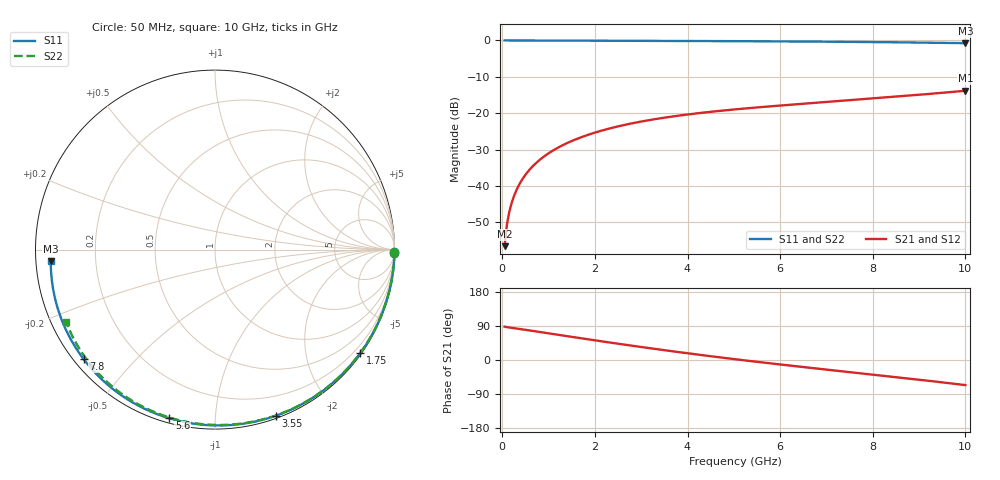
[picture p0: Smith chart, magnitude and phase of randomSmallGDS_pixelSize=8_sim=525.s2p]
! freq	dB(S11)	phase(S11)	dB(S12)	phase(S12)
!  dB(S21)	phase(S21)	dB(S22)	phase(S22)
!S-par simulation data
#  GHz  S  DB  R 50
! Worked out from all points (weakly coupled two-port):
!   200 points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, 50 MHz to 10 GHz, reference 50 ohm
!   highest |S21| = -13.83 dB at 10 GHz (marker M1); lowest = -56.6 dB at 50 MHz (marker M2)
!   lowest |S11| = -0.7 dB at 10 GHz (marker M3), VSWR 23.19, Z = 2.16 - j1.8 ohm
!   |S11| at or under -10 dB: nowhere
!   |S22| runs from -0.7 to 0.0 dB; largest |S21 - S12| = 0
!   S11 on the Smith chart (normalised r, x): 50 MHz: open; 1.75 GHz: 0.03, -3.12; 3.55 GHz: 0.02, -1.43; 5.6 GHz: 0.02, -0.77; 7.8 GHz: 0.03, -0.36; 10 GHz: 0.04, -0.04
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0.05  -0.00 -1.0  -56.56 88.1  -56.56 88.1  -0.00 -0.9
0.1  -0.00 -2.1  -50.64 86.7  -50.64 86.7  -0.00 -1.8
0.15  -0.00 -3.1  -47.21 85.7  -47.21 85.7  -0.00 -2.7
0.2  -0.00 -4.2  -44.77 84.8  -44.77 84.8  -0.00 -3.6
0.25  -0.00 -5.2  -42.87 84.0  -42.87 84.0  -0.00 -4.5
0.35  -0.01 -7.3  -39.99 82.3  -39.99 82.3  -0.01 -6.3
0.5  -0.01 -10.3  -36.93 79.6  -36.93 79.6  -0.01 -9.0
0.7  -0.02 -14.4  -34.05 76.0  -34.05 76.0  -0.02 -12.6
1  -0.03 -20.6  -31.02 70.4  -31.02 70.4  -0.03 -18.0
1.35  -0.04 -27.6  -28.51 63.9  -28.51 63.9  -0.04 -24.1
1.75  -0.05 -35.6  -26.40 56.5  -26.40 56.5  -0.05 -31.1
2.6  -0.09 -52.1  -23.33 41.2  -23.33 41.2  -0.08 -45.7
3.4  -0.12 -67.0  -21.43 27.5  -21.43 27.5  -0.11 -58.9
3.55  -0.12 -69.8  -21.14 25.1  -21.14 25.1  -0.11 -61.3
4.3  -0.16 -83.1  -19.90 13.1  -19.90 13.1  -0.15 -73.2
5.05  -0.20 -96.0  -18.92 1.7  -18.92 1.7  -0.18 -84.7
5.6  -0.23 -105.1  -18.31 -6.2  -18.31 -6.2  -0.21 -92.9
6.7  -0.31 -122.9  -17.21 -21.3  -17.21 -21.3  -0.29 -108.7
7.8  -0.42 -140.2  -16.16 -35.9  -16.16 -35.9  -0.39 -123.9
8.35  -0.48 -148.9  -15.61 -43.2  -15.61 -43.2  -0.45 -131.5
9.2  -0.61 -162.6  -14.72 -54.8  -14.72 -54.8  -0.57 -143.1
10  -0.75 -175.9  -13.83 -66.2  -13.83 -66.2  -0.71 -154.2
